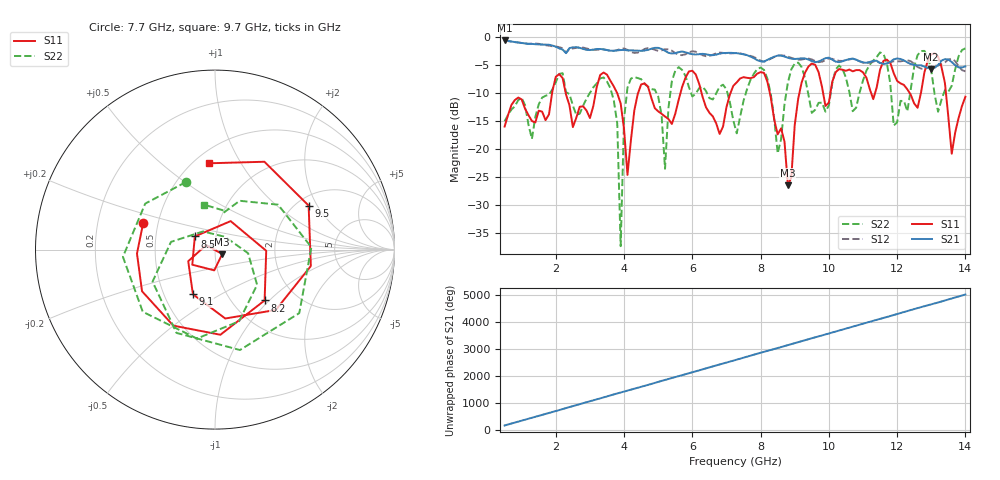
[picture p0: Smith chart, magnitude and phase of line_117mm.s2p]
!Created with skrf (http://scikit-rf.org).
# GHz S RI R 50.0
!freq ReS11 ImS11 ReS21 ImS21 ReS12 ImS12 ReS22 ImS22
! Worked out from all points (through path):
!   136 points, 500 MHz to 14 GHz, reference 50 ohm
!   highest |S21| = -0.66 dB at 500 MHz (marker M1); lowest = -5.8 dB at 13 GHz (marker M2)
!   lowest |S11| = -26.5 dB at 8.8 GHz (marker M3), VSWR 1.10, Z = 54.1 - j2.69 ohm
!   |S11| at or under -10 dB: start of sweep to 1.893 GHz; 2.288 GHz to 3.169 GHz (881 MHz wide, 32.3 % of centre); 4.754 GHz to 5.655 GHz (901.6 MHz wide, 17.3 % of centre)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
!   |S22| runs from -37.4 to -2.1 dB; largest |S21 - S12| = 0.055
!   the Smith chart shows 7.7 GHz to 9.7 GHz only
!   S11 on the Smith chart (normalised r, x): 7.7 GHz: 0.41, +0.15; 8.2 GHz: 1.40, -0.94; 8.5 GHz: 0.79, +0.12; 9.1 GHz: 0.70, -0.38; 9.5 GHz: 2.31, +1.70; 9.7 GHz: 0.59, +0.74
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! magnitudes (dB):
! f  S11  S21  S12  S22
! 500 MHz  -16.0  -0.7  -0.7  -15.1
! 2.8 GHz  -12.4  -2.2  -1.9  -12.3
! 3.7 GHz  -8.9  -2.5  -2.5  -11.4
! 3.9 GHz  -11.9  -2.4  -2.2  -37.4
! 4.1 GHz  -24.7  -2.4  -2.4  -9.1
! 4.5 GHz  -8.5  -2.5  -2.6  -7.6
! 5 GHz  -13.3  -2.0  -2.5  -10.7
! 5.2 GHz  -14.2  -2.5  -2.2  -23.6
! 5.6 GHz  -11.3  -2.7  -3.2  -5.4
! 7.3 GHz  -8.1  -2.9  -2.9  -17.3
! 7.7 GHz  -7.4  -3.5  -3.4  -7.8
! 8.2 GHz  -8.1  -4.1  -4.2  -7.5
! 8.5 GHz  -17.4  -3.4  -3.4  -20.8
! 8.8 GHz  -26.5  -3.7  -3.6  -8.2
! 9.1 GHz  -11.1  -3.9  -4.1  -4.6
! 9.5 GHz  -4.8  -4.3  -4.0  -13.6
! 9.7 GHz  -6.3  -4.4  -4.5  -11.8
! 11.8 GHz  -4.7  -4.5  -4.5  -8.4
! 12.6 GHz  -12.7  -5.1  -5.4  -3.3
! 13 GHz  -3.1  -5.8  -5.3  -6.0
! 13.6 GHz  -20.9  -4.5  -3.9  -8.8
! 14 GHz  -10.7  -5.3  -6.2  -2.1
